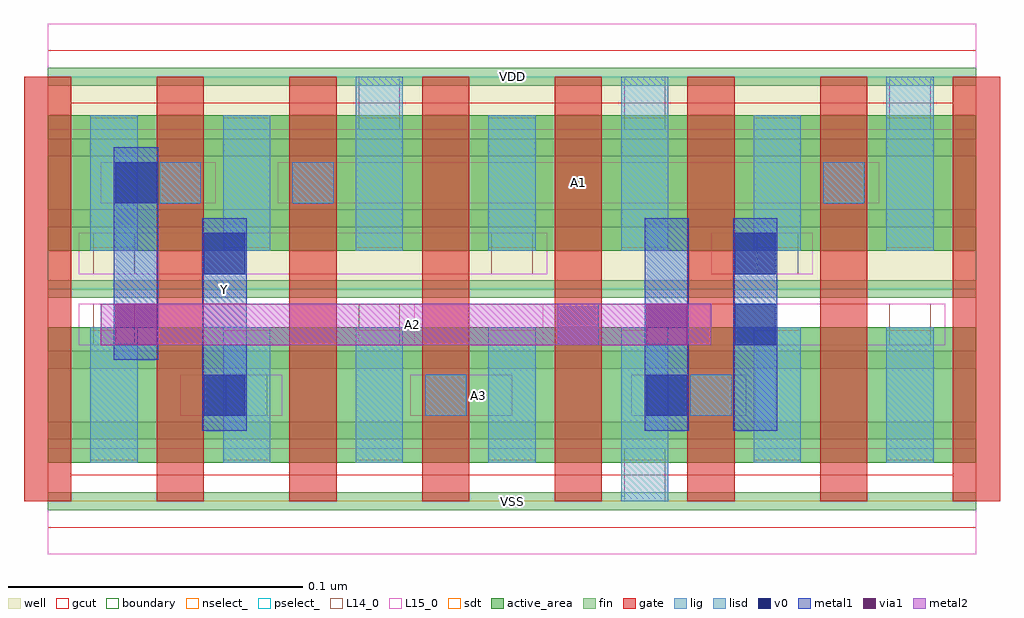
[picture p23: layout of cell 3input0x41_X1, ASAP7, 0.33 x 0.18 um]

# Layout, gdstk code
import gdstk
lib = gdstk.Library(unit=1e-6, precision=2.5e-10)
def R(c, l, rs):  # rectangles x0, y0, x1, y1
    for r in rs: c.add(gdstk.rectangle(r[:2], r[2:], *l))
def A(c, l, x, y, w, h, nx, ny, dx, dy):  # array of equal rectangles
    R(c, l, [(x+i*dx, y+j*dy, x+i*dx+w, y+j*dy+h) for i in range(nx) for j in range(ny)])
def P(c, l, *ps):  # polygons
    for p in ps: c.add(gdstk.Polygon(p, *l))
well = (1, 0)
fin = (2, 0)
gate = (7, 0)
gcut = (10, 0)
active_area = (11, 0)
nselect_ = (12, 0)
pselect_ = (13, 0)
L14_0 = (14, 0)
L15_0 = (15, 0)
lig = (16, 0)
lisd = (17, 0)
v0 = (18, 0)
metal1 = (19, 0)
metal2 = (20, 0)
via1 = (21, 0)
sdt = (88, 0)
boundary = (100, 0)

c_3input0x41_x1 = lib.new_cell('3input0x41_X1')
R(c_3input0x41_x1, well, [(0,0.072,0.315,0.144)])
A(c_3input0x41_x1, fin, 0, -0.003, 0.315, 0.006, 1, 7, 0, 0.024)
A(c_3input0x41_x1, gate, -0.008, 0, 0.016, 0.144, 8, 1, 0.045, 0)
P(c_3input0x41_x1, gcut, [(0,-0.009),(0,0),(-0.008,0),(-0.008,0.135),(0.008,0.135),(0.008,0.009),(0.307,0.009),(0.307,0.135),(-0.008,0.135),(-0.008,0.144),(0,0.144),(0,0.153),(0.315,0.153),(0.315,0.144),(0.323,0.144),(0.323,0),(0.315,0),(0.315,-0.009)])
R(c_3input0x41_x1, active_area, [(0,0.013,0.315,0.059), (0,0.085,0.315,0.131)])
R(c_3input0x41_x1, nselect_, [(0,0,0.315,0.072)])
R(c_3input0x41_x1, pselect_, [(0,0.072,0.315,0.144)])
A(c_3input0x41_x1, L14_0, 0.1055, 0.126, 0.014, 0.018, 3, 1, 0.09, 0)
R(c_3input0x41_x1, L14_0, [(0.1955,0,0.2095,0.018), (0.0605,0.029,0.0745,0.043), (0.128,0.029,0.142,0.043), (0.218,0.029,0.232,0.043), (0.0155,0.053,0.0295,0.067), (0.1055,0.053,0.1195,0.067), (0.173,0.053,0.187,0.067), (0.2855,0.053,0.2995,0.067), (0.0155,0.077,0.0295,0.091), (0.1505,0.077,0.1645,0.091), (0.2405,0.077,0.2545,0.091), (0.038,0.101,0.052,0.115), (0.083,0.101,0.097,0.115), (0.263,0.101,0.277,0.115)])
R(c_3input0x41_x1, L15_0, [(0,-0.018,0.315,0.018), (0.045,0.029,0.0795,0.043), (0.123,0.029,0.1575,0.043), (0.198,0.029,0.237,0.043), (0.0105,0.053,0.1245,0.067), (0.168,0.053,0.3045,0.067), (0.0105,0.077,0.1695,0.091), (0.225,0.077,0.2595,0.091), (0.018,0.101,0.057,0.115), (0.078,0.101,0.282,0.115), (0,0.126,0.315,0.162)])
R(c_3input0x41_x1, lig, [(0.128,0.029,0.142,0.043), (0.218,0.029,0.232,0.043), (0.173,0.053,0.187,0.067), (0.038,0.101,0.052,0.115), (0.083,0.101,0.097,0.115), (0.263,0.101,0.277,0.115)])
A(c_3input0x41_x1, lisd, 0.0145, 0.013, 0.016, 0.046, 4, 1, 0.045, 0)
A(c_3input0x41_x1, lisd, 0.0595, 0.085, 0.016, 0.046, 3, 1, 0.09, 0)
A(c_3input0x41_x1, lisd, 0.1045, 0.085, 0.016, 0.059, 3, 1, 0.09, 0)
R(c_3input0x41_x1, lisd, [(0.1945,0,0.2105,0.059), (0.2395,0.013,0.2555,0.059), (0.2845,0.013,0.3005,0.059), (0.0145,0.085,0.0305,0.131)])
R(c_3input0x41_x1, v0, [(0.053,0.029,0.067,0.043), (0.203,0.029,0.217,0.043), (0.233,0.053,0.247,0.067), (0.053,0.077,0.067,0.091), (0.233,0.077,0.247,0.091), (0.023,0.101,0.037,0.115)])
R(c_3input0x41_x1, metal1, [(0.0525,0.024,0.0675,0.096), (0.2025,0.024,0.2175,0.096), (0.2325,0.024,0.2475,0.096), (0.0225,0.048,0.0375,0.12)])
R(c_3input0x41_x1, metal2, [(0.018,0.053,0.225,0.067)])
R(c_3input0x41_x1, via1, [(0.023,0.053,0.037,0.067), (0.203,0.053,0.217,0.067)])
A(c_3input0x41_x1, sdt, 0.0145, 0.014, 0.016, 0.044, 7, 2, 0.045, 0.072)
R(c_3input0x41_x1, boundary, [(0,0,0.315,0.144)])
c_3input0x41_x1.add(gdstk.Label('VSS', (0.1575,0), layer=15, texttype=251))
c_3input0x41_x1.add(gdstk.Label('VDD', (0.1575,0.144), layer=15, texttype=251))
c_3input0x41_x1.add(gdstk.Label('A1', (0.18,0.108), layer=15, texttype=251))
c_3input0x41_x1.add(gdstk.Label('VSS', (0.1575,0), layer=15, texttype=251))
c_3input0x41_x1.add(gdstk.Label('VDD', (0.1575,0.144), layer=15, texttype=251))
c_3input0x41_x1.add(gdstk.Label('A3', (0.1463,0.036), layer=15, texttype=251))
c_3input0x41_x1.add(gdstk.Label('VSS', (0.1575,0), layer=15, texttype=251))
c_3input0x41_x1.add(gdstk.Label('VDD', (0.1575,0.144), layer=15, texttype=251))
c_3input0x41_x1.add(gdstk.Label('VSS', (0.1575,0), layer=15, texttype=251))
c_3input0x41_x1.add(gdstk.Label('VDD', (0.1575,0.144), layer=15, texttype=251))
c_3input0x41_x1.add(gdstk.Label('VSS', (0.1575,0), layer=3, texttype=251))
c_3input0x41_x1.add(gdstk.Label('VSS', (0.1575,0), layer=3, texttype=251))
c_3input0x41_x1.add(gdstk.Label('VSS', (0.1575,0), layer=3, texttype=251))
c_3input0x41_x1.add(gdstk.Label('VSS', (0.1575,0), layer=3, texttype=251))
c_3input0x41_x1.add(gdstk.Label('VDD', (0.1575,0.144), layer=1, texttype=251))
c_3input0x41_x1.add(gdstk.Label('VDD', (0.1575,0.144), layer=1, texttype=251))
c_3input0x41_x1.add(gdstk.Label('VDD', (0.1575,0.144), layer=1, texttype=251))
c_3input0x41_x1.add(gdstk.Label('VDD', (0.1575,0.144), layer=1, texttype=251))
c_3input0x41_x1.add(gdstk.Label('Y', (0.06,0.072), layer=19, texttype=251))
c_3input0x41_x1.add(gdstk.Label('A2', (0.1238,0.06), layer=20, texttype=251))

lib.write_gds('3input0x41_X1.gds')
